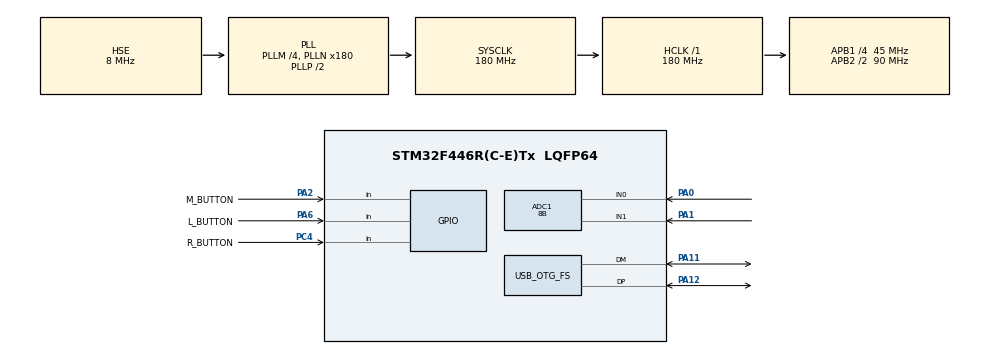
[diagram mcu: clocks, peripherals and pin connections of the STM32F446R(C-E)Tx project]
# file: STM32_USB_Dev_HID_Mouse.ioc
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ADC1.Channel-0\#ChannelRegularConversion=ADC_CHANNEL_0
ADC1.Channel-1\#ChannelRegularConversion=ADC_CHANNEL_1
ADC1.ClockPrescaler=ADC_CLOCK_SYNC_PCLK_DIV8
ADC1.ContinuousConvMode=ENABLE
ADC1.DMAContinuousRequests=ENABLE
ADC1.EOCSelection=ADC_EOC_SEQ_CONV
ADC1.NbrOfConversion=2
ADC1.NbrOfConversionFlag=1
ADC1.Rank-0\#ChannelRegularConversion=1
ADC1.Rank-1\#ChannelRegularConversion=2
ADC1.Resolution=ADC_RESOLUTION_8B
ADC1.SamplingTime-0\#ChannelRegularConversion=ADC_SAMPLETIME_480CYCLES
ADC1.SamplingTime-1\#ChannelRegularConversion=ADC_SAMPLETIME_480CYCLES
ADC1.master=1
Dma.ADC1.0.Direction=DMA_PERIPH_TO_MEMORY
Dma.ADC1.0.FIFOMode=DMA_FIFOMODE_DISABLE
Dma.ADC1.0.Instance=DMA2_Stream0
Dma.ADC1.0.MemDataAlignment=DMA_MDATAALIGN_BYTE
Dma.ADC1.0.MemInc=DMA_MINC_ENABLE
Dma.ADC1.0.Mode=DMA_CIRCULAR
Dma.ADC1.0.PeriphDataAlignment=DMA_PDATAALIGN_BYTE
Dma.ADC1.0.PeriphInc=DMA_PINC_DISABLE
Dma.ADC1.0.Priority=DMA_PRIORITY_LOW
Dma.Request0=ADC1
Mcu.Family=STM32F4
Mcu.Name=STM32F446R(C-E)Tx
Mcu.Package=LQFP64
NVIC.DMA2_Stream0_IRQn=true\:0\:0\:false\:false\:true\:false\:true\:true
NVIC.OTG_FS_IRQn=true\:0\:0\:false\:false\:true\:false\:true\:true
NVIC.PriorityGroup=NVIC_PRIORITYGROUP_4
PA0-WKUP.Signal=ADCx_IN0
PA1.Signal=ADCx_IN1
PA11.Mode=Device_Only
PA11.Signal=USB_OTG_FS_DM
PA12.Mode=Device_Only
PA12.Signal=USB_OTG_FS_DP
PA13.Mode=Serial_Wire
PA13.Signal=SYS_JTMS-SWDIO
PA14.Mode=Serial_Wire
PA14.Signal=SYS_JTCK-SWCLK
PA2.GPIO_Label=M_BUTTON
PA2.GPIO_PuPd=GPIO_PULLUP
PA2.Signal=GPIO_Input
PA6.GPIO_Label=L_BUTTON
PA6.GPIO_PuPd=GPIO_PULLUP
PA6.Signal=GPIO_Input
PC4.GPIO_Label=R_BUTTON
PC4.GPIO_PuPd=GPIO_PULLUP
PC4.Signal=GPIO_Input
PH0-OSC_IN.Mode=HSE-External-Oscillator
PH0-OSC_IN.Signal=RCC_OSC_IN
PH1-OSC_OUT.Mode=HSE-External-Oscillator
PH1-OSC_OUT.Signal=RCC_OSC_OUT
ProjectManager.HeapSize=0x200
ProjectManager.StackSize=0x400
ProjectManager.TargetToolchain=STM32CubeIDE
RCC.AHBFreq_Value=180000000
RCC.APB1CLKDivider=RCC_HCLK_DIV4
RCC.APB1Freq_Value=45000000
RCC.APB1TimFreq_Value=90000000
RCC.APB2CLKDivider=RCC_HCLK_DIV2
RCC.APB2Freq_Value=90000000
RCC.APB2TimFreq_Value=180000000
RCC.CortexFreq_Value=180000000
RCC.HCLKFreq_Value=180000000
RCC.HSE_VALUE=8000000
RCC.PLLM=4
RCC.PLLN=180
RCC.PLLSAIM=8
RCC.PLLSAIP=RCC_PLLSAIP_DIV4
RCC.PLLSourceVirtual=RCC_PLLSOURCE_HSE
RCC.SYSCLKFreq_VALUE=180000000
RCC.SYSCLKSource=RCC_SYSCLKSOURCE_PLLCLK
RCC.USBCLockSelection=RCC_CLK48CLKSOURCE_PLLSAIP
RCC.USBFreq_Value=48000000
RCC.VCOOutputFreq_Value=360000000
SH.ADCx_IN0.0=ADC1_IN0,IN0
SH.ADCx_IN1.0=ADC1_IN1,IN1
USB_DEVICE.CLASS_NAME_FS=HID
USB_DEVICE.PRODUCT_STRING_HID_FS=STM32 Gamepad
USB_DEVICE.VirtualMode-HID_FS=Hid
USB_DEVICE.VirtualModeFS=Hid_FS
USB_OTG_FS.VirtualMode=Device_Only
VP_USB_DEVICE_VS_USB_DEVICE_HID_FS.Mode=HID_FS
board=custom

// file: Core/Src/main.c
/* USER CODE BEGIN Header */
/**
  ******************************************************************************
  * @file           : main.c
  * @brief          : Main program body
  ******************************************************************************
  * @attention
  *
  * Copyright (c) 2026 STMicroelectronics.
  * All rights reserved.
  *
  * This software is licensed under terms that can be found in the LICENSE file
  * in the root directory of this software component.
  * If no LICENSE file comes with this software, it is provided AS-IS.
  *
  ******************************************************************************
  */
/* USER CODE END Header */
#include "main.h"
#include "usb_device.h"

/* USER CODE BEGIN Includes */
#include "usbd_hid.h"
/* USER CODE END Includes */

ADC_HandleTypeDef hadc1;
DMA_HandleTypeDef hdma_adc1;

void SystemClock_Config(void);
static void MX_GPIO_Init(void);
static void MX_DMA_Init(void);
static void MX_ADC1_Init(void);

/* USER CODE BEGIN 0 */
extern USBD_HandleTypeDef hUsbDeviceFS;

int8_t HID_Buffer[4] = {0};

uint8_t ADC_Val[2];

void HAL_ADC_ConvCpltCallback(ADC_HandleTypeDef *hadc)
{
	if (ADC_Val[0] > 200) HID_Buffer[1] = 5;
	else if (ADC_Val[0] < 55) HID_Buffer[1] = -5;
	else HID_Buffer[1] = 0;

	if (ADC_Val[1] > 200) HID_Buffer[2] = 5;
	else if (ADC_Val[1] < 55) HID_Buffer[2] = -5;
	else HID_Buffer[2] = 0;
}

/* USER CODE END 0 */

int main(void)
{

  /* MCU Configuration--------------------------------------------------------*/

  /* Reset of all peripherals, Initializes the Flash interface and the Systick. */
  HAL_Init();

  /* Configure the system clock */
  SystemClock_Config();

  /* Initialize all configured peripherals */
  MX_GPIO_Init();
  MX_DMA_Init();
  MX_USB_DEVICE_Init();
  MX_ADC1_Init();
  /* USER CODE BEGIN 2 */

  HAL_ADC_Start_DMA(&hadc1, (uint32_t *)ADC_Val, 2);

  /* USER CODE END 2 */

  /* Infinite loop */
  while (1)
  {

    /* USER CODE BEGIN 3 */

	  if (HAL_GPIO_ReadPin(L_BUTTON_GPIO_Port, L_BUTTON_Pin) == 0)
	  {
		  HID_Buffer[0] = 0x01;
	  }

	  if (HAL_GPIO_ReadPin(R_BUTTON_GPIO_Port, R_BUTTON_Pin) == 0)
	  {
		  HID_Buffer[0] = 0x02;
	  }

	  if (HAL_GPIO_ReadPin(M_BUTTON_GPIO_Port, M_BUTTON_Pin) == 0)
	  {
		  HID_Buffer[0] = 0x04;
	  }

	  USBD_HID_SendReport(&hUsbDeviceFS, (uint8_t *)HID_Buffer, 4);
	  HID_Buffer[0] = 0;
	  HAL_Delay(10);
  }
  /* USER CODE END 3 */
}

void SystemClock_Config(void)
{
  RCC_OscInitTypeDef RCC_OscInitStruct = {0};
  RCC_ClkInitTypeDef RCC_ClkInitStruct = {0};

  /** Configure the main internal regulator output voltage
  */
  __HAL_RCC_PWR_CLK_ENABLE();
  __HAL_PWR_VOLTAGESCALING_CONFIG(PWR_REGULATOR_VOLTAGE_SCALE1);

  /** Initializes the RCC Oscillators according to the specified parameters
  * in the RCC_OscInitTypeDef structure.
  */
  RCC_OscInitStruct.OscillatorType = RCC_OSCILLATORTYPE_HSE;
  RCC_OscInitStruct.HSEState = RCC_HSE_ON;
  RCC_OscInitStruct.PLL.PLLState = RCC_PLL_ON;
  RCC_OscInitStruct.PLL.PLLSource = RCC_PLLSOURCE_HSE;
  RCC_OscInitStruct.PLL.PLLM = 4;
  RCC_OscInitStruct.PLL.PLLN = 180;
  RCC_OscInitStruct.PLL.PLLP = RCC_PLLP_DIV2;
  RCC_OscInitStruct.PLL.PLLQ = 2;
  RCC_OscInitStruct.PLL.PLLR = 2;
  if (HAL_RCC_OscConfig(&RCC_OscInitStruct) != HAL_OK)
  {
    Error_Handler();
  }

  /** Activate the Over-Drive mode
  */
  if (HAL_PWREx_EnableOverDrive() != HAL_OK)
  {
    Error_Handler();
  }

  /** Initializes the CPU, AHB and APB buses clocks
  */
  RCC_ClkInitStruct.ClockType = RCC_CLOCKTYPE_HCLK|RCC_CLOCKTYPE_SYSCLK
                              |RCC_CLOCKTYPE_PCLK1|RCC_CLOCKTYPE_PCLK2;
  RCC_ClkInitStruct.SYSCLKSource = RCC_SYSCLKSOURCE_PLLCLK;
  RCC_ClkInitStruct.AHBCLKDivider = RCC_SYSCLK_DIV1;
  RCC_ClkInitStruct.APB1CLKDivider = RCC_HCLK_DIV4;
  RCC_ClkInitStruct.APB2CLKDivider = RCC_HCLK_DIV2;

  if (HAL_RCC_ClockConfig(&RCC_ClkInitStruct, FLASH_LATENCY_5) != HAL_OK)
  {
    Error_Handler();
  }
}

static void MX_ADC1_Init(void)
{

  ADC_ChannelConfTypeDef sConfig = {0};

  /** Configure the global features of the ADC (Clock, Resolution, Data Alignment and number of conversion)
  */
  hadc1.Instance = ADC1;
  hadc1.Init.ClockPrescaler = ADC_CLOCK_SYNC_PCLK_DIV8;
  hadc1.Init.Resolution = ADC_RESOLUTION_8B;
  hadc1.Init.ScanConvMode = ENABLE;
  hadc1.Init.ContinuousConvMode = ENABLE;
  hadc1.Init.DiscontinuousConvMode = DISABLE;
  hadc1.Init.ExternalTrigConvEdge = ADC_EXTERNALTRIGCONVEDGE_NONE;
  hadc1.Init.ExternalTrigConv = ADC_SOFTWARE_START;
  hadc1.Init.DataAlign = ADC_DATAALIGN_RIGHT;
  hadc1.Init.NbrOfConversion = 2;
  hadc1.Init.DMAContinuousRequests = ENABLE;
  hadc1.Init.EOCSelection = ADC_EOC_SEQ_CONV;
  if (HAL_ADC_Init(&hadc1) != HAL_OK)
  {
    Error_Handler();
  }

  /** Configure for the selected ADC regular channel its corresponding rank in the sequencer and its sample time.
  */
  sConfig.Channel = ADC_CHANNEL_0;
  sConfig.Rank = 1;
  sConfig.SamplingTime = ADC_SAMPLETIME_480CYCLES;
  if (HAL_ADC_ConfigChannel(&hadc1, &sConfig) != HAL_OK)
  {
    Error_Handler();
  }

  /** Configure for the selected ADC regular channel its corresponding rank in the sequencer and its sample time.
  */
  sConfig.Channel = ADC_CHANNEL_1;
  sConfig.Rank = 2;
  if (HAL_ADC_ConfigChannel(&hadc1, &sConfig) != HAL_OK)
  {
    Error_Handler();
  }

}

static void MX_DMA_Init(void)
{

  /* DMA controller clock enable */
  __HAL_RCC_DMA2_CLK_ENABLE();

  /* DMA interrupt init */
  /* DMA2_Stream0_IRQn interrupt configuration */
  HAL_NVIC_SetPriority(DMA2_Stream0_IRQn, 0, 0);
  HAL_NVIC_EnableIRQ(DMA2_Stream0_IRQn);

}

static void MX_GPIO_Init(void)
{
  GPIO_InitTypeDef GPIO_InitStruct = {0};

  /* GPIO Ports Clock Enable */
  __HAL_RCC_GPIOH_CLK_ENABLE();
  __HAL_RCC_GPIOA_CLK_ENABLE();
  __HAL_RCC_GPIOC_CLK_ENABLE();

  /*Configure GPIO pins : M_BUTTON_Pin L_BUTTON_Pin */
  GPIO_InitStruct.Pin = M_BUTTON_Pin|L_BUTTON_Pin;
  GPIO_InitStruct.Mode = GPIO_MODE_INPUT;
  GPIO_InitStruct.Pull = GPIO_PULLUP;
  HAL_GPIO_Init(GPIOA, &GPIO_InitStruct);

  /*Configure GPIO pin : R_BUTTON_Pin */
  GPIO_InitStruct.Pin = R_BUTTON_Pin;
  GPIO_InitStruct.Mode = GPIO_MODE_INPUT;
  GPIO_InitStruct.Pull = GPIO_PULLUP;
  HAL_GPIO_Init(R_BUTTON_GPIO_Port, &GPIO_InitStruct);

}

void Error_Handler(void)
{
  __disable_irq();
  while (1)
  {
  }
}
